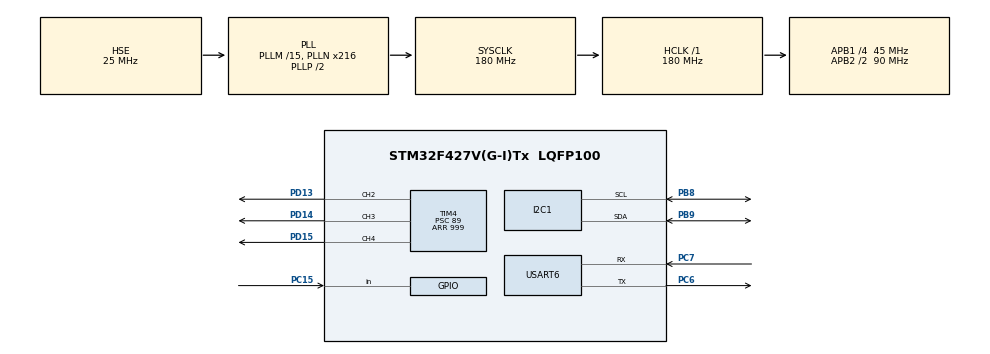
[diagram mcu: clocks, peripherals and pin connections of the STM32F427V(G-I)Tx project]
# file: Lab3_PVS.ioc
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I2C1.I2C_Mode=I2C_Fast
Mcu.Family=STM32F4
Mcu.Name=STM32F427V(G-I)Tx
Mcu.Package=LQFP100
NVIC.I2C1_ER_IRQn=true\:0\:0\:false\:false\:true\:true\:true
NVIC.I2C1_EV_IRQn=true\:0\:0\:false\:false\:true\:true\:true
NVIC.PriorityGroup=NVIC_PRIORITYGROUP_4
NVIC.TIM6_DAC_IRQn=true\:0\:0\:false\:false\:true\:true\:true
NVIC.USART6_IRQn=true\:0\:0\:false\:false\:true\:true\:true
PB8.Mode=I2C
PB8.Signal=I2C1_SCL
PB9.Mode=I2C
PB9.Signal=I2C1_SDA
PC15/OSC32_OUT.Signal=GPIO_Input
PC6.Mode=Asynchronous
PC6.Signal=USART6_TX
PC7.Mode=Asynchronous
PC7.Signal=USART6_RX
PD13.Signal=S_TIM4_CH2
PD14.Signal=S_TIM4_CH3
PD15.Signal=S_TIM4_CH4
PH0/OSC_IN.Mode=HSE-External-Oscillator
PH0/OSC_IN.Signal=RCC_OSC_IN
PH1/OSC_OUT.Mode=HSE-External-Oscillator
PH1/OSC_OUT.Signal=RCC_OSC_OUT
ProjectManager.HeapSize=0x200
ProjectManager.StackSize=0x400
ProjectManager.TargetToolchain=STM32CubeIDE
RCC.48MHZClocksFreq_Value=90000000
RCC.AHBFreq_Value=180000000
RCC.APB1CLKDivider=RCC_HCLK_DIV4
RCC.APB1Freq_Value=45000000
RCC.APB1TimFreq_Value=90000000
RCC.APB2CLKDivider=RCC_HCLK_DIV2
RCC.APB2Freq_Value=90000000
RCC.APB2TimFreq_Value=180000000
RCC.CortexFreq_Value=180000000
RCC.HCLKFreq_Value=180000000
RCC.HSE_VALUE=25000000
RCC.HSI_VALUE=16000000
RCC.LSE_VALUE=32768
RCC.PLLM=15
RCC.PLLN=216
RCC.PLLSourceVirtual=RCC_PLLSOURCE_HSE
RCC.SYSCLKFreq_VALUE=180000000
RCC.SYSCLKSource=RCC_SYSCLKSOURCE_PLLCLK
RCC.VCOOutputFreq_Value=360000000
SH.S_TIM4_CH2.0=TIM4_CH2,PWM Generation2 CH2
SH.S_TIM4_CH3.0=TIM4_CH3,PWM Generation3 CH3
SH.S_TIM4_CH4.0=TIM4_CH4,PWM Generation4 CH4
TIM4.Channel-PWM\ Generation2\ CH2=TIM_CHANNEL_2
TIM4.Channel-PWM\ Generation3\ CH3=TIM_CHANNEL_3
TIM4.Channel-PWM\ Generation4\ CH4=TIM_CHANNEL_4
TIM4.Period=999
TIM4.Prescaler=89
TIM6.Period=9
TIM6.Prescaler=8999
USART6.VirtualMode=VM_ASYNC
VP_TIM4_VS_ClockSourceINT.Mode=Internal
VP_TIM6_VS_ClockSourceINT.Mode=Enable_Timer
board=custom

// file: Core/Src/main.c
/* USER CODE BEGIN Header */
/**
  ******************************************************************************
  * @file           : main.c
  * @brief          : Main program body
  ******************************************************************************
  * @attention
  *
  * <h2><center>&copy; Copyright (c) 2021 STMicroelectronics.
  * All rights reserved.</center></h2>
  *
  * This software component is licensed by ST under BSD 3-Clause license,
  * the "License"; You may not use this file except in compliance with the
  * License. You may obtain a copy of the License at:
  *                        opensource.org/licenses/BSD-3-Clause
  *
  ******************************************************************************
  */
/* USER CODE END Header */

#include <KEYBOARD.h>
#include <LED.h>
#include <UART.h>
#include "main.h"

/* USER CODE BEGIN PD */

#define BTN_DEBOUNCE_TIME (100)

/* USER CODE END PD */

I2C_HandleTypeDef hi2c1;

TIM_HandleTypeDef htim4;
TIM_HandleTypeDef htim6;

UART_HandleTypeDef huart6;

void SystemClock_Config(void);
static void MX_GPIO_Init(void);
static void MX_TIM4_Init(void);
static void MX_TIM6_Init(void);
static void MX_USART6_UART_Init(void);
static void MX_I2C1_Init(void);

/* USER CODE BEGIN 0 */

static struct GarlandMode led_modes[9] = {
    { .color = GREEN, .brightness = 10 },
    { .color = GREEN, .brightness = 40 },
    { .color = GREEN, .brightness = 100 },
    { .color = YELLOW, .brightness = 10 },
    { .color = YELLOW, .brightness = 40 },
    { .color = YELLOW, .brightness = 100 },
    { .color = RED, .brightness = 10 },
    { .color = RED, .brightness = 40 },
    { .color = RED, .brightness = 100 },
};

static bool is_button_clicked() {
    static bool output_btn = false;
    static uint32_t btn_time = 0;
    const bool input_btn = HAL_GPIO_ReadPin(GPIOC, GPIO_PIN_15) == GPIO_PIN_RESET;
    const uint32_t t = HAL_GetTick();
    if (input_btn == output_btn) btn_time = 0;
    else if (btn_time == 0) btn_time = t;
    else if (btn_time - t >= BTN_DEBOUNCE_TIME) {
        output_btn = !output_btn;
        if (output_btn) return true;
    }
    return false;
}

static bool handle_kb_menu(struct kb_event evt) {
    static struct GarlandMode new_mode = { 0 };
    static uint8_t new_mode_number = 0;
    static bool is_number_selected = false;
    static bool is_color_selected = false;
    static bool may_reset = false;
    switch (evt.key) {
        case KB_EVENT_KEY_1:
        case KB_EVENT_KEY_2:
        case KB_EVENT_KEY_3:
        case KB_EVENT_KEY_4:
        case KB_EVENT_KEY_5:
        case KB_EVENT_KEY_6:
        case KB_EVENT_KEY_7:
        case KB_EVENT_KEY_8:
        case KB_EVENT_KEY_9:
            if (!is_number_selected) {
                new_mode_number = evt.key;
                is_number_selected = true;
                break;
            }
            switch (evt.key) {
                case KB_EVENT_KEY_1:
                case KB_EVENT_KEY_2:
                case KB_EVENT_KEY_3:
                    is_color_selected = true;
                    new_mode.color = (enum LED) evt.key;
                break;
                case KB_EVENT_KEY_4:
                    if (new_mode.brightness >= 10) new_mode.brightness = new_mode.brightness - 10;
                break;
                case KB_EVENT_KEY_5:
                    new_mode.brightness = (new_mode.brightness + 10) % 110;
                break;
                default:
                    // do nothing
                break;
            }
            break;
        case KB_EVENT_KEY_10:
        case KB_EVENT_KEY_11:
            // do nothing
            break;
        case KB_EVENT_KEY_12:
            if (is_number_selected && is_color_selected) {
                println("new mode saved");
                led_modes[new_mode_number] = new_mode;
            }
            else if (may_reset) println("discarding all changes");
            else {
                may_reset = true;
                if (!is_number_selected) println("you should provide number of new mode");
                if (!is_color_selected) println("you should provide color of new mode");
                println("nothing to save, press again to discard and leave");
                return true;
            }
            println("config mode == OFF");
            return false;
    }
    if (!is_number_selected && !is_color_selected) print_format("new mode params: number is not selected, color is not selected, brightness = %d%%\r\n", new_mode.brightness);
    else if (!is_number_selected) print_format("new mode params: number is not selected, color = %s, brightness = %d%%\r\n", led_names[new_mode.color], new_mode.brightness);
    else if (!is_color_selected) print_format("new mode params: number = %d, color is not selected, brightness = %d%%\r\n", new_mode_number + 1, new_mode.brightness);
    else print_format("new mode params: number = %d, color = %s, brightness = %d%%\r\n", new_mode_number + 1, led_names[new_mode.color], new_mode.brightness);
    may_reset = false;
    return true;
}

static void handle_kb(struct kb_event evt) {
    static uint8_t current_mode = 9;
    static bool in_menu = false;
    if (evt.type == KB_EVENT_TYPE_PRESS) {
    	if (in_menu) in_menu = handle_kb_menu(evt);
    	else switch (evt.key) {
    		case KB_EVENT_KEY_1:
    		case KB_EVENT_KEY_2:
    	    case KB_EVENT_KEY_3:
    	    case KB_EVENT_KEY_4:
    	    case KB_EVENT_KEY_5:
    	    case KB_EVENT_KEY_6:
    	    case KB_EVENT_KEY_7:
    	    case KB_EVENT_KEY_8:
    	    case KB_EVENT_KEY_9:
    	    case KB_EVENT_KEY_10:
    	    	if (current_mode < 9) led_mode_disable(led_modes[current_mode]);
    	    	current_mode = evt.key;
    	    	if (current_mode < 9) {
    	    		led_mode_enable(led_modes[current_mode]);
    	    		print_format("activated LED mode #%d\r\n", current_mode + 1);
    	    	} else println("disabled LEDs");
    	    break;
    	    case KB_EVENT_KEY_11:
    	    	println("config mode == ON");
    	    	in_menu = true;
    	    break;
    	    case KB_EVENT_KEY_12:
    	    	// do nothing
    	    break;
    	}
    }
}

/* USER CODE END 0 */

int main(void)
{

  /* MCU Configuration--------------------------------------------------------*/

  /* Reset of all peripherals, Initializes the Flash interface and the Systick. */
  HAL_Init();

  /* Configure the system clock */
  SystemClock_Config();

  /* Initialize all configured peripherals */
  MX_GPIO_Init();
  MX_TIM4_Init();
  MX_TIM6_Init();
  MX_USART6_UART_Init();
  MX_I2C1_Init();
  /* USER CODE BEGIN 2 */

  kb_init(&hi2c1);
  HAL_TIM_PWM_Start(&htim4, TIM_CHANNEL_2);
  HAL_TIM_PWM_Start(&htim4, TIM_CHANNEL_3);
  HAL_TIM_PWM_Start(&htim4, TIM_CHANNEL_4);
  HAL_TIM_Base_Start_IT(&htim6);

  /* USER CODE END 2 */

  /* Infinite loop */
  /* USER CODE BEGIN WHILE */
  bool keyboard_test_enabled = false;
  while (1) {
    /* USER CODE END WHILE */
	if (is_button_clicked()) {
		if (keyboard_test_enabled) println("keyboard test == ON");
		else println("keyboard test == OFF");
		keyboard_test_enabled = !keyboard_test_enabled;
	}
    /* USER CODE BEGIN 3 */
      while (kb_event_has()) {
    	  struct kb_event evt = kb_event_pop();
    	  if (keyboard_test_enabled) {
    		  switch (evt.type) {
    		  	  case KB_EVENT_TYPE_PRESS:
    		  		  print_format("key %d pressed\r\n", evt.key + 1);
    			  break;
    		  	  case KB_EVENT_TYPE_RELEASE:
    		  	  	print_format("key %d released\r\n", evt.key + 1);
    		  	  break;
    		  }
    	  } else handle_kb(evt);
      }
  }
  /* USER CODE END 3 */
}

void SystemClock_Config(void)
{
  RCC_OscInitTypeDef RCC_OscInitStruct = {0};
  RCC_ClkInitTypeDef RCC_ClkInitStruct = {0};

  /** Configure the main internal regulator output voltage
  */
  __HAL_RCC_PWR_CLK_ENABLE();
  __HAL_PWR_VOLTAGESCALING_CONFIG(PWR_REGULATOR_VOLTAGE_SCALE1);
  /** Initializes the CPU, AHB and APB busses clocks
  */
  RCC_OscInitStruct.OscillatorType = RCC_OSCILLATORTYPE_HSE;
  RCC_OscInitStruct.HSEState = RCC_HSE_ON;
  RCC_OscInitStruct.PLL.PLLState = RCC_PLL_ON;
  RCC_OscInitStruct.PLL.PLLSource = RCC_PLLSOURCE_HSE;
  RCC_OscInitStruct.PLL.PLLM = 15;
  RCC_OscInitStruct.PLL.PLLN = 216;
  RCC_OscInitStruct.PLL.PLLP = RCC_PLLP_DIV2;
  RCC_OscInitStruct.PLL.PLLQ = 4;
  if (HAL_RCC_OscConfig(&RCC_OscInitStruct) != HAL_OK)
  {
    Error_Handler();
  }
  /** Activate the Over-Drive mode
  */
  if (HAL_PWREx_EnableOverDrive() != HAL_OK)
  {
    Error_Handler();
  }
  /** Initializes the CPU, AHB and APB busses clocks
  */
  RCC_ClkInitStruct.ClockType = RCC_CLOCKTYPE_HCLK|RCC_CLOCKTYPE_SYSCLK
                              |RCC_CLOCKTYPE_PCLK1|RCC_CLOCKTYPE_PCLK2;
  RCC_ClkInitStruct.SYSCLKSource = RCC_SYSCLKSOURCE_PLLCLK;
  RCC_ClkInitStruct.AHBCLKDivider = RCC_SYSCLK_DIV1;
  RCC_ClkInitStruct.APB1CLKDivider = RCC_HCLK_DIV4;
  RCC_ClkInitStruct.APB2CLKDivider = RCC_HCLK_DIV2;

  if (HAL_RCC_ClockConfig(&RCC_ClkInitStruct, FLASH_LATENCY_5) != HAL_OK)
  {
    Error_Handler();
  }
}

static void MX_I2C1_Init(void)
{

  hi2c1.Instance = I2C1;
  hi2c1.Init.ClockSpeed = 400000;
  hi2c1.Init.DutyCycle = I2C_DUTYCYCLE_2;
  hi2c1.Init.OwnAddress1 = 0;
  hi2c1.Init.AddressingMode = I2C_ADDRESSINGMODE_7BIT;
  hi2c1.Init.DualAddressMode = I2C_DUALADDRESS_DISABLE;
  hi2c1.Init.OwnAddress2 = 0;
  hi2c1.Init.GeneralCallMode = I2C_GENERALCALL_DISABLE;
  hi2c1.Init.NoStretchMode = I2C_NOSTRETCH_DISABLE;
  if (HAL_I2C_Init(&hi2c1) != HAL_OK)
  {
    Error_Handler();
  }
  /** Configure Analogue filter
  */
  if (HAL_I2CEx_ConfigAnalogFilter(&hi2c1, I2C_ANALOGFILTER_ENABLE) != HAL_OK)
  {
    Error_Handler();
  }
  /** Configure Digital filter
  */
  if (HAL_I2CEx_ConfigDigitalFilter(&hi2c1, 0) != HAL_OK)
  {
    Error_Handler();
  }

}

static void MX_TIM4_Init(void)
{

  TIM_ClockConfigTypeDef sClockSourceConfig = {0};
  TIM_MasterConfigTypeDef sMasterConfig = {0};
  TIM_OC_InitTypeDef sConfigOC = {0};

  htim4.Instance = TIM4;
  htim4.Init.Prescaler = 89;
  htim4.Init.CounterMode = TIM_COUNTERMODE_UP;
  htim4.Init.Period = 999;
  htim4.Init.ClockDivision = TIM_CLOCKDIVISION_DIV1;
  htim4.Init.AutoReloadPreload = TIM_AUTORELOAD_PRELOAD_DISABLE;
  if (HAL_TIM_Base_Init(&htim4) != HAL_OK)
  {
    Error_Handler();
  }
  sClockSourceConfig.ClockSource = TIM_CLOCKSOURCE_INTERNAL;
  if (HAL_TIM_ConfigClockSource(&htim4, &sClockSourceConfig) != HAL_OK)
  {
    Error_Handler();
  }
  if (HAL_TIM_PWM_Init(&htim4) != HAL_OK)
  {
    Error_Handler();
  }
  sMasterConfig.MasterOutputTrigger = TIM_TRGO_RESET;
  sMasterConfig.MasterSlaveMode = TIM_MASTERSLAVEMODE_DISABLE;
  if (HAL_TIMEx_MasterConfigSynchronization(&htim4, &sMasterConfig) != HAL_OK)
  {
    Error_Handler();
  }
  sConfigOC.OCMode = TIM_OCMODE_PWM1;
  sConfigOC.Pulse = 0;
  sConfigOC.OCPolarity = TIM_OCPOLARITY_HIGH;
  sConfigOC.OCFastMode = TIM_OCFAST_DISABLE;
  if (HAL_TIM_PWM_ConfigChannel(&htim4, &sConfigOC, TIM_CHANNEL_2) != HAL_OK)
  {
    Error_Handler();
  }
  if (HAL_TIM_PWM_ConfigChannel(&htim4, &sConfigOC, TIM_CHANNEL_3) != HAL_OK)
  {
    Error_Handler();
  }
  if (HAL_TIM_PWM_ConfigChannel(&htim4, &sConfigOC, TIM_CHANNEL_4) != HAL_OK)
  {
    Error_Handler();
  }
  HAL_TIM_MspPostInit(&htim4);

}

static void MX_TIM6_Init(void)
{

  TIM_MasterConfigTypeDef sMasterConfig = {0};

  htim6.Instance = TIM6;
  htim6.Init.Prescaler = 8999;
  htim6.Init.CounterMode = TIM_COUNTERMODE_UP;
  htim6.Init.Period = 9;
  htim6.Init.AutoReloadPreload = TIM_AUTORELOAD_PRELOAD_DISABLE;
  if (HAL_TIM_Base_Init(&htim6) != HAL_OK)
  {
    Error_Handler();
  }
  sMasterConfig.MasterOutputTrigger = TIM_TRGO_RESET;
  sMasterConfig.MasterSlaveMode = TIM_MASTERSLAVEMODE_DISABLE;
  if (HAL_TIMEx_MasterConfigSynchronization(&htim6, &sMasterConfig) != HAL_OK)
  {
    Error_Handler();
  }

}

static void MX_USART6_UART_Init(void)
{

  huart6.Instance = USART6;
  huart6.Init.BaudRate = 115200;
  huart6.Init.WordLength = UART_WORDLENGTH_8B;
  huart6.Init.StopBits = UART_STOPBITS_1;
  huart6.Init.Parity = UART_PARITY_NONE;
  huart6.Init.Mode = UART_MODE_TX_RX;
  huart6.Init.HwFlowCtl = UART_HWCONTROL_NONE;
  huart6.Init.OverSampling = UART_OVERSAMPLING_16;
  if (HAL_UART_Init(&huart6) != HAL_OK)
  {
    Error_Handler();
  }

}

static void MX_GPIO_Init(void)
{
  GPIO_InitTypeDef GPIO_InitStruct = {0};

  /* GPIO Ports Clock Enable */
  __HAL_RCC_GPIOC_CLK_ENABLE();
  __HAL_RCC_GPIOH_CLK_ENABLE();
  __HAL_RCC_GPIOD_CLK_ENABLE();
  __HAL_RCC_GPIOB_CLK_ENABLE();

  /*Configure GPIO pin : PC15 */
  GPIO_InitStruct.Pin = GPIO_PIN_15;
  GPIO_InitStruct.Mode = GPIO_MODE_INPUT;
  GPIO_InitStruct.Pull = GPIO_NOPULL;
  HAL_GPIO_Init(GPIOC, &GPIO_InitStruct);

}

/* USER CODE BEGIN 4 */

void HAL_TIM_PeriodElapsedCallback(TIM_HandleTypeDef * htim) {
    if (htim->Instance == TIM6) {
        kb_scan_step(&hi2c1);
    }
}

/* USER CODE END 4 */

void Error_Handler(void)
{
}

/************************ (C) COPYRIGHT STMicroelectronics *****END OF FILE****/
